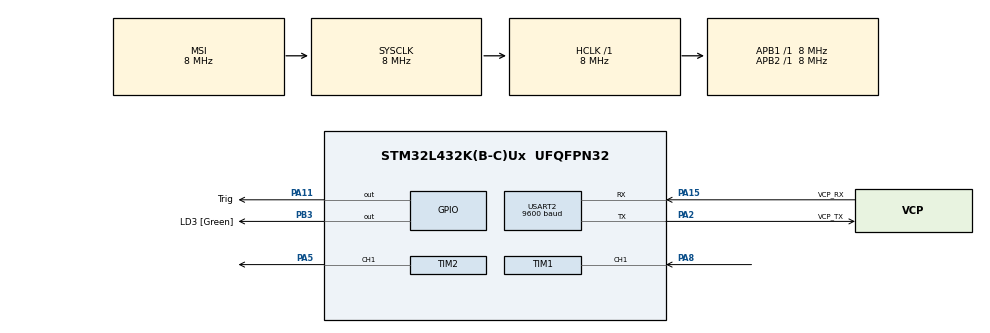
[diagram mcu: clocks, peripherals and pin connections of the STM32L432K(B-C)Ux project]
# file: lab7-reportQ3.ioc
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FREERTOS.BinarySemaphores01=event_signal,Dynamic,NULL
FREERTOS.Queues01=distanceQueue,10,float,0,Dynamic,NULL,NULL
FREERTOS.Tasks01=defaultTask,24,128,StartDefaultTask,Default,NULL,Dynamic,NULL,NULL;myTask02,8,128,ultrasensorTask,Default,NULL,Dynamic,NULL,NULL;myTask03,8,128,buzzerTask,Default,NULL,Dynamic,NULL,NULL
Mcu.Family=STM32L4
Mcu.Name=STM32L432K(B-C)Ux
Mcu.Package=UFQFPN32
NVIC.PriorityGroup=NVIC_PRIORITYGROUP_4
NVIC.TIM1_CC_IRQn=true\:5\:0\:false\:false\:true\:true\:true\:true\:true
NVIC.TIM2_IRQn=true\:5\:0\:false\:false\:true\:true\:true\:true\:true
NVIC.TIM6_DAC_IRQn=true\:15\:0\:false\:false\:true\:false\:false\:true\:true
NVIC.TimeBase=TIM6_DAC_IRQn
NVIC.TimeBaseIP=TIM6
PA0.GPIO_Label=MCO [High speed clock in]
PA0.Mode=HSE-External-Clock-Source-for-LittleOrca
PA0.Signal=RCC_CK_IN
PA11.GPIO_Label=Trig
PA11.Signal=GPIO_Output
PA13\ (JTMS-SWDIO).GPIO_Label=SWDIO
PA13\ (JTMS-SWDIO).Mode=Serial_Wire
PA13\ (JTMS-SWDIO).Signal=SYS_JTMS-SWDIO
PA14\ (JTCK-SWCLK).GPIO_Label=SWCLK
PA14\ (JTCK-SWCLK).Mode=Serial_Wire
PA14\ (JTCK-SWCLK).Signal=SYS_JTCK-SWCLK
PA15\ (JTDI).GPIO_Label=VCP_RX
PA15\ (JTDI).Mode=Asynchronous
PA15\ (JTDI).Signal=USART2_RX
PA2.GPIO_Label=VCP_TX
PA2.Mode=Asynchronous
PA2.Signal=USART2_TX
PA5.Signal=S_TIM2_CH1
PA8.Signal=S_TIM1_CH1
PB3\ (JTDO-TRACESWO).GPIO_Label=LD3 [Green]
PB3\ (JTDO-TRACESWO).Signal=GPIO_Output
PC14-OSC32_IN\ (PC14).Mode=LSE-External-Oscillator
PC14-OSC32_IN\ (PC14).Signal=RCC_OSC32_IN
PC15-OSC32_OUT\ (PC15).Mode=LSE-External-Oscillator
PC15-OSC32_OUT\ (PC15).Signal=RCC_OSC32_OUT
ProjectManager.HeapSize=0x200
ProjectManager.StackSize=0x400
ProjectManager.TargetToolchain=MDK-ARM V5.32
RCC.ADCFreq_Value=32000000
RCC.AHBFreq_Value=8000000
RCC.APB1Freq_Value=8000000
RCC.APB1TimFreq_Value=8000000
RCC.APB2Freq_Value=8000000
RCC.APB2TimFreq_Value=8000000
RCC.CortexFreq_Value=8000000
RCC.HCLKFreq_Value=8000000
RCC.HSE_VALUE=8000000
RCC.HSI16_VALUE=16000000
RCC.HSI48_VALUE=48000000
RCC.HSI_VALUE=16000000
RCC.MSIClockRange=RCC_MSIRANGE_7
RCC.MSI_VALUE=8000000
RCC.PLLMUL=RCC_PLLMUL_4
RCC.PLLN=16
RCC.SYSCLKFreq_VALUE=8000000
RCC.USBFreq_Value=32000000
RCC.VCOOutputFreq_Value=128000000
SH.S_TIM1_CH1.0=TIM1_CH1,Input_Capture1_from_TI1
SH.S_TIM2_CH1.0=TIM2_CH1,PWM Generation1 CH1
TIM1.Channel-Input_Capture1_from_TI1=TIM_CHANNEL_1
TIM1.Channel-PWM\ Generation2\ No\ Output=TIM_CHANNEL_2
TIM1.Period=65535
TIM1.Prescaler=7
TIM2.AutoReloadPreload=TIM_AUTORELOAD_PRELOAD_ENABLE
TIM2.Channel-PWM\ Generation1\ CH1=TIM_CHANNEL_1
TIM2.Period=65535
TIM2.Prescaler=79
USART2.BaudRate=9600
USART2.VirtualMode-Asynchronous=VM_ASYNC
VP_FREERTOS_VS_CMSIS_V2.Mode=CMSIS_V2
VP_SYS_VS_tim6.Mode=TIM6
VP_TIM1_VS_no_output2.Mode=PWM Generation2 No Output
VP_TIM2_VS_ClockSourceINT.Mode=Internal
board=NUCLEO-L432KC

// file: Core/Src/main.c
/* USER CODE BEGIN Header */
/**
  ******************************************************************************
  * @file           : main.c
  * @brief          : Main program body
  ******************************************************************************
  * @attention
  *
  * Copyright (c) 2022 STMicroelectronics.
  * All rights reserved.
  *
  * This software is licensed under terms that can be found in the LICENSE file
  * in the root directory of this software component.
  * If no LICENSE file comes with this software, it is provided AS-IS.
  *
  ******************************************************************************
  */
/* USER CODE END Header */
#include "main.h"
#include "cmsis_os.h"

/* USER CODE BEGIN Includes */
#include "semphr.h"
#include "Queue.h"
#include "stdio.h"
#include "stdlib.h"
#include "string.h"

/* USER CODE END Includes */

 TIM_HandleTypeDef htim1;
TIM_HandleTypeDef htim2;

UART_HandleTypeDef huart2;

/* Definitions for defaultTask */
osThreadId_t defaultTaskHandle;
const osThreadAttr_t defaultTask_attributes = {
  .name = "defaultTask",
  .stack_size = 128 * 4,
  .priority = (osPriority_t) osPriorityNormal,
};
/* Definitions for myTask02 */
osThreadId_t myTask02Handle;
const osThreadAttr_t myTask02_attributes = {
  .name = "myTask02",
  .stack_size = 128 * 4,
  .priority = (osPriority_t) osPriorityLow,
};
/* Definitions for myTask03 */
osThreadId_t myTask03Handle;
const osThreadAttr_t myTask03_attributes = {
  .name = "myTask03",
  .stack_size = 128 * 4,
  .priority = (osPriority_t) osPriorityLow,
};
/* Definitions for distanceQueue */
osMessageQueueId_t distanceQueueHandle;
const osMessageQueueAttr_t distanceQueue_attributes = {
  .name = "distanceQueue"
};
/* Definitions for event_signal */
osSemaphoreId_t event_signalHandle;
const osSemaphoreAttr_t event_signal_attributes = {
  .name = "event_signal"
};
/* USER CODE BEGIN PV */

/* My Created Queue*/

uint8_t risingEdge = 1, fallingEdge = 0, EdgeChecker=0,  beep_flag = 1,minDistFlag;
uint32_t fallingEdge_captureValue = 0 , risingEdge_captureValue=0;
float distanceCovered = 0.0;
uint8_t uartBuffer[30];
uint32_t beepDelay = 500;
uint32_t CCR_val = 50;
uint32_t PSC_val = 79;
uint32_t ARR_val ;

// minimum distance -> 2 cm or 3cm
float min_dist1 = 2.0 , min_dist2 = 3.0;
/* USER CODE END PV */

void SystemClock_Config(void);
static void MX_GPIO_Init(void);
static void MX_TIM1_Init(void);
static void MX_USART2_UART_Init(void);
static void MX_TIM2_Init(void);
void StartDefaultTask(void *argument);
void ultrasensorTask(void *argument);
void buzzerTask(void *argument);

int main(void)
{

  /* MCU Configuration--------------------------------------------------------*/

  /* Reset of all peripherals, Initializes the Flash interface and the Systick. */
  HAL_Init();

  /* Configure the system clock */
  SystemClock_Config();

  /* Initialize all configured peripherals */
  MX_GPIO_Init();
  MX_TIM1_Init();
  MX_USART2_UART_Init();
  MX_TIM2_Init();
  /* USER CODE BEGIN 2 */
	// Start the TIM Base generation
	HAL_TIM_Base_Start(&htim1);

  /* USER CODE END 2 */

  /* Init scheduler */
  osKernelInitialize();

  /* Create the semaphores(s) */
  /* creation of event_signal */
  event_signalHandle = osSemaphoreNew(1, 1, &event_signal_attributes);

  /* Create the queue(s) */
  /* creation of distanceQueue */
  distanceQueueHandle = osMessageQueueNew (10, sizeof(float), &distanceQueue_attributes);

  /* Create the thread(s) */
  /* creation of defaultTask */
  defaultTaskHandle = osThreadNew(StartDefaultTask, NULL, &defaultTask_attributes);

  /* creation of myTask02 */
  myTask02Handle = osThreadNew(ultrasensorTask, NULL, &myTask02_attributes);

  /* creation of myTask03 */
  myTask03Handle = osThreadNew(buzzerTask, NULL, &myTask03_attributes);

  /* USER CODE BEGIN RTOS_EVENTS */
  /* add events, ... */

	osSemaphoreAcquire(event_signalHandle, HAL_MAX_DELAY);
  /* USER CODE END RTOS_EVENTS */

  /* Start scheduler */
  osKernelStart();

  /* We should never get here as control is now taken by the scheduler */
  /* Infinite loop */
  while (1)
  {

  }
}

void SystemClock_Config(void)
{
  RCC_OscInitTypeDef RCC_OscInitStruct = {0};
  RCC_ClkInitTypeDef RCC_ClkInitStruct = {0};

  /** Configure the main internal regulator output voltage
  */
  if (HAL_PWREx_ControlVoltageScaling(PWR_REGULATOR_VOLTAGE_SCALE1) != HAL_OK)
  {
    Error_Handler();
  }

  /** Configure LSE Drive Capability
  */
  HAL_PWR_EnableBkUpAccess();
  __HAL_RCC_LSEDRIVE_CONFIG(RCC_LSEDRIVE_LOW);

  /** Initializes the RCC Oscillators according to the specified parameters
  * in the RCC_OscInitTypeDef structure.
  */
  RCC_OscInitStruct.OscillatorType = RCC_OSCILLATORTYPE_LSE|RCC_OSCILLATORTYPE_MSI;
  RCC_OscInitStruct.LSEState = RCC_LSE_ON;
  RCC_OscInitStruct.MSIState = RCC_MSI_ON;
  RCC_OscInitStruct.MSICalibrationValue = 0;
  RCC_OscInitStruct.MSIClockRange = RCC_MSIRANGE_7;
  RCC_OscInitStruct.PLL.PLLState = RCC_PLL_NONE;
  if (HAL_RCC_OscConfig(&RCC_OscInitStruct) != HAL_OK)
  {
    Error_Handler();
  }

  /** Initializes the CPU, AHB and APB buses clocks
  */
  RCC_ClkInitStruct.ClockType = RCC_CLOCKTYPE_HCLK|RCC_CLOCKTYPE_SYSCLK
                              |RCC_CLOCKTYPE_PCLK1|RCC_CLOCKTYPE_PCLK2;
  RCC_ClkInitStruct.SYSCLKSource = RCC_SYSCLKSOURCE_MSI;
  RCC_ClkInitStruct.AHBCLKDivider = RCC_SYSCLK_DIV1;
  RCC_ClkInitStruct.APB1CLKDivider = RCC_HCLK_DIV1;
  RCC_ClkInitStruct.APB2CLKDivider = RCC_HCLK_DIV1;

  if (HAL_RCC_ClockConfig(&RCC_ClkInitStruct, FLASH_LATENCY_0) != HAL_OK)
  {
    Error_Handler();
  }

  /** Enable MSI Auto calibration
  */
  HAL_RCCEx_EnableMSIPLLMode();
}

static void MX_TIM1_Init(void)
{

  TIM_MasterConfigTypeDef sMasterConfig = {0};
  TIM_IC_InitTypeDef sConfigIC = {0};
  TIM_OC_InitTypeDef sConfigOC = {0};
  TIM_BreakDeadTimeConfigTypeDef sBreakDeadTimeConfig = {0};

  htim1.Instance = TIM1;
  htim1.Init.Prescaler = 7;
  htim1.Init.CounterMode = TIM_COUNTERMODE_UP;
  htim1.Init.Period = 65535;
  htim1.Init.ClockDivision = TIM_CLOCKDIVISION_DIV1;
  htim1.Init.RepetitionCounter = 0;
  htim1.Init.AutoReloadPreload = TIM_AUTORELOAD_PRELOAD_DISABLE;
  if (HAL_TIM_IC_Init(&htim1) != HAL_OK)
  {
    Error_Handler();
  }
  if (HAL_TIM_PWM_Init(&htim1) != HAL_OK)
  {
    Error_Handler();
  }
  sMasterConfig.MasterOutputTrigger = TIM_TRGO_RESET;
  sMasterConfig.MasterOutputTrigger2 = TIM_TRGO2_RESET;
  sMasterConfig.MasterSlaveMode = TIM_MASTERSLAVEMODE_DISABLE;
  if (HAL_TIMEx_MasterConfigSynchronization(&htim1, &sMasterConfig) != HAL_OK)
  {
    Error_Handler();
  }
  sConfigIC.ICPolarity = TIM_INPUTCHANNELPOLARITY_RISING;
  sConfigIC.ICSelection = TIM_ICSELECTION_DIRECTTI;
  sConfigIC.ICPrescaler = TIM_ICPSC_DIV1;
  sConfigIC.ICFilter = 0;
  if (HAL_TIM_IC_ConfigChannel(&htim1, &sConfigIC, TIM_CHANNEL_1) != HAL_OK)
  {
    Error_Handler();
  }
  sConfigOC.OCMode = TIM_OCMODE_PWM1;
  sConfigOC.Pulse = 0;
  sConfigOC.OCPolarity = TIM_OCPOLARITY_HIGH;
  sConfigOC.OCNPolarity = TIM_OCNPOLARITY_HIGH;
  sConfigOC.OCFastMode = TIM_OCFAST_DISABLE;
  sConfigOC.OCIdleState = TIM_OCIDLESTATE_RESET;
  sConfigOC.OCNIdleState = TIM_OCNIDLESTATE_RESET;
  if (HAL_TIM_PWM_ConfigChannel(&htim1, &sConfigOC, TIM_CHANNEL_2) != HAL_OK)
  {
    Error_Handler();
  }
  sBreakDeadTimeConfig.OffStateRunMode = TIM_OSSR_DISABLE;
  sBreakDeadTimeConfig.OffStateIDLEMode = TIM_OSSI_DISABLE;
  sBreakDeadTimeConfig.LockLevel = TIM_LOCKLEVEL_OFF;
  sBreakDeadTimeConfig.DeadTime = 0;
  sBreakDeadTimeConfig.BreakState = TIM_BREAK_DISABLE;
  sBreakDeadTimeConfig.BreakPolarity = TIM_BREAKPOLARITY_HIGH;
  sBreakDeadTimeConfig.BreakFilter = 0;
  sBreakDeadTimeConfig.Break2State = TIM_BREAK2_DISABLE;
  sBreakDeadTimeConfig.Break2Polarity = TIM_BREAK2POLARITY_HIGH;
  sBreakDeadTimeConfig.Break2Filter = 0;
  sBreakDeadTimeConfig.AutomaticOutput = TIM_AUTOMATICOUTPUT_DISABLE;
  if (HAL_TIMEx_ConfigBreakDeadTime(&htim1, &sBreakDeadTimeConfig) != HAL_OK)
  {
    Error_Handler();
  }

}

static void MX_TIM2_Init(void)
{

  TIM_ClockConfigTypeDef sClockSourceConfig = {0};
  TIM_MasterConfigTypeDef sMasterConfig = {0};
  TIM_OC_InitTypeDef sConfigOC = {0};

  htim2.Instance = TIM2;
  htim2.Init.Prescaler = 79;
  htim2.Init.CounterMode = TIM_COUNTERMODE_UP;
  htim2.Init.Period = 65535;
  htim2.Init.ClockDivision = TIM_CLOCKDIVISION_DIV1;
  htim2.Init.AutoReloadPreload = TIM_AUTORELOAD_PRELOAD_ENABLE;
  if (HAL_TIM_Base_Init(&htim2) != HAL_OK)
  {
    Error_Handler();
  }
  sClockSourceConfig.ClockSource = TIM_CLOCKSOURCE_INTERNAL;
  if (HAL_TIM_ConfigClockSource(&htim2, &sClockSourceConfig) != HAL_OK)
  {
    Error_Handler();
  }
  if (HAL_TIM_PWM_Init(&htim2) != HAL_OK)
  {
    Error_Handler();
  }
  sMasterConfig.MasterOutputTrigger = TIM_TRGO_RESET;
  sMasterConfig.MasterSlaveMode = TIM_MASTERSLAVEMODE_DISABLE;
  if (HAL_TIMEx_MasterConfigSynchronization(&htim2, &sMasterConfig) != HAL_OK)
  {
    Error_Handler();
  }
  sConfigOC.OCMode = TIM_OCMODE_PWM1;
  sConfigOC.Pulse = 0;
  sConfigOC.OCPolarity = TIM_OCPOLARITY_HIGH;
  sConfigOC.OCFastMode = TIM_OCFAST_DISABLE;
  if (HAL_TIM_PWM_ConfigChannel(&htim2, &sConfigOC, TIM_CHANNEL_1) != HAL_OK)
  {
    Error_Handler();
  }
  HAL_TIM_MspPostInit(&htim2);

}

static void MX_USART2_UART_Init(void)
{

  huart2.Instance = USART2;
  huart2.Init.BaudRate = 9600;
  huart2.Init.WordLength = UART_WORDLENGTH_8B;
  huart2.Init.StopBits = UART_STOPBITS_1;
  huart2.Init.Parity = UART_PARITY_NONE;
  huart2.Init.Mode = UART_MODE_TX_RX;
  huart2.Init.HwFlowCtl = UART_HWCONTROL_NONE;
  huart2.Init.OverSampling = UART_OVERSAMPLING_16;
  huart2.Init.OneBitSampling = UART_ONE_BIT_SAMPLE_DISABLE;
  huart2.AdvancedInit.AdvFeatureInit = UART_ADVFEATURE_NO_INIT;
  if (HAL_UART_Init(&huart2) != HAL_OK)
  {
    Error_Handler();
  }

}

static void MX_GPIO_Init(void)
{
  GPIO_InitTypeDef GPIO_InitStruct = {0};

  /* GPIO Ports Clock Enable */
  __HAL_RCC_GPIOC_CLK_ENABLE();
  __HAL_RCC_GPIOA_CLK_ENABLE();
  __HAL_RCC_GPIOB_CLK_ENABLE();

  /*Configure GPIO pin Output Level */
  HAL_GPIO_WritePin(Trig_GPIO_Port, Trig_Pin, GPIO_PIN_RESET);

  /*Configure GPIO pin Output Level */
  HAL_GPIO_WritePin(LD3_GPIO_Port, LD3_Pin, GPIO_PIN_RESET);

  /*Configure GPIO pin : Trig_Pin */
  GPIO_InitStruct.Pin = Trig_Pin;
  GPIO_InitStruct.Mode = GPIO_MODE_OUTPUT_PP;
  GPIO_InitStruct.Pull = GPIO_NOPULL;
  GPIO_InitStruct.Speed = GPIO_SPEED_FREQ_LOW;
  HAL_GPIO_Init(Trig_GPIO_Port, &GPIO_InitStruct);

  /*Configure GPIO pin : LD3_Pin */
  GPIO_InitStruct.Pin = LD3_Pin;
  GPIO_InitStruct.Mode = GPIO_MODE_OUTPUT_PP;
  GPIO_InitStruct.Pull = GPIO_NOPULL;
  GPIO_InitStruct.Speed = GPIO_SPEED_FREQ_LOW;
  HAL_GPIO_Init(LD3_GPIO_Port, &GPIO_InitStruct);

}

void StartDefaultTask(void *argument)
{
  for(;;)
  {
		 osDelay(1);
  }
}

void ultrasensorTask(void *argument)
{
  /* USER CODE BEGIN ultrasensorTask */
  /* Infinite loop */
  for(;;)
  {
		// pull TRIG high
		HAL_GPIO_WritePin(Trig_GPIO_Port, Trig_Pin, GPIO_PIN_SET);
		__HAL_TIM_SetCounter(&htim1, 0);
		//create 10 microsec delay by setting the TIM Counter Register value to 0
		while ( __HAL_TIM_GetCounter(&htim1) < 10/*TIM Counter Register value is less than the intended value */);
		// pull TRIG low
		HAL_GPIO_WritePin(Trig_GPIO_Port, Trig_Pin, GPIO_PIN_RESET);
		// start TIM Input Capture measurement in interrupt mode
		HAL_TIM_IC_Start_IT(&htim1, TIM_CHANNEL_1);
		// wait for a little time
	//	HAL_Delay(20);
			HAL_Delay(1);

		taskENTER_CRITICAL();
    osDelay(beepDelay+100);
		taskEXIT_CRITICAL();
  }
  /* USER CODE END ultrasensorTask */
}

void buzzerTask(void *argument)
{
  /* USER CODE BEGIN buzzerTask */
	float distance;
	uint8_t task_buffer[30];
	HAL_TIM_PWM_Start(&htim2, TIM_CHANNEL_1);
	TIM2->CCR1 = CCR_val; //50% duty cycle

	// for loudness
	float dutyCycleFactor;
	/*Struct for predefined dutyCycles*/
	typedef struct dutyCycles dutyCycles;
	struct dutyCycles{
	float _3_5;
	float _6_10;
	float _10_20;
	float others;
	};

	/* Reference for the duty cycle loudness part:
	http://justanotherlanguage.org/content/jallib/tutorials/tutorial_pwm2*/
	dutyCycles DC;
	DC._3_5 = 49.0;
	DC._6_10 = 30.0;
	DC._10_20 = 15.0;
	DC.others = 5.0;

  /* Infinite loop */

	for(;;)
  {
		/* Acquiring the binarysemaphore released (Given) in the ISR*/
		if (osSemaphoreAcquire(event_signalHandle, HAL_MAX_DELAY) == osOK){
				// range of the HC-SR04 2cm to 400cm

			/*After acquiring the semaphore we will know get the last element in the distance queue handle*/
			if(osMessageQueueGet(distanceQueueHandle, &distance, NULL, HAL_MAX_DELAY) == osOK && (distance >=2 && distance <= 400)){

				/*Sending thedistance extracted from the queue over UART
				*To make sure that there is syncronization between the distance
				* received from the ISR via HC-SR04 and the this task (buzzerTask)
				*/
				taskENTER_CRITICAL();
				sprintf((char*) task_buffer, "Distance TASK: %0.1f\r\n", distance);
				HAL_UART_Transmit(&huart2, task_buffer, sizeof("Distance TASK: %0.1f\r\n"), 30);
				taskEXIT_CRITICAL();

				/* flag for the minimum distance*/
				minDistFlag = (distance == min_dist1 || distance == min_dist2 );

				// minimum distance
				if(minDistFlag){
					/*If we have minimum distance in our case 2
					* we have default values of ARR -> Which is 50
					* and the compare capture register responsible for the duty cycle
					* as 50%
					*/
					ARR_val = 99;
					CCR_val = 49;
					beep_flag = 1;
				}
				else{

				/* We have distances different from the minimum distance */
				/* I created a struct for each group of distances where I specify the CCR
				* Decreasing the CCR value as we go further from the HC-SR04
				* i.e, Distance Increases
				* The purpose of this struct is simply to control the loudness "Optional"
				*/

				dutyCycleFactor = (distance >=2 && distance<=5) ? DC._3_5 : (distance >=6 && distance<=10)?
				DC._6_10 : (distance >= 10 && distance <=20) ? DC._10_20 : DC.others;

				/*For each distance I set the period of each clock cycle
				* since we know that the ARR controls the period
				* so the larger the distance the longer the period
				* then I add 100 (My choice) so that I can make a more resonable ARR val
				* i.e of the distance is 4 then the ARR is at 104
				*/
				ARR_val = (distance) +100 ;

				/*This shorthand-if conrtols the beeping, if the beepflag is 1, meaning that
				*it is not the pre-defined minimum distance then I set the CCR = 0. i.e I shut it down
				* else I set the CCR value responsible for the duty cycle based on, the group that the
				* distance belongs to
				*/
				CCR_val = (beep_flag) ? 0 : (ARR_val * (dutyCycleFactor/100));
				/* if it is beeping, then invert it to mimic a square wave. i.e, 1 0 1 0 1 0 ....*/
				beep_flag = !beep_flag;
					}

				/*Set the timer ARR "Period" to the current ARR decided on based on the if condition*/
				TIM2->ARR = ARR_val;
				/*Set the timer CCR "Duty Cycle" to the current CCR decided on based on the if condition*/
				TIM2->CCR1 = CCR_val;
				}
				/*Zeroing out the buffer*/
				memset(task_buffer, 0,sizeof("Distance TASK: %0.1f\r\n"));
				/*Waiting for short time*/
				HAL_Delay(1);

				/* Since beep delay is shared between the buzzer task and the ultrasonic sensor task
				* I guard it using task_ENTER/EXIT_Critical
				* To eliminate the possibility of race conditions
				*/
				taskENTER_CRITICAL();
				beepDelay = distance + 100;
				osDelay(beepDelay + 100);

				taskEXIT_CRITICAL();
			}
		}

  }
  /* USER CODE END buzzerTask */

void HAL_TIM_PeriodElapsedCallback(TIM_HandleTypeDef *htim)
{
  if (htim->Instance == TIM6) {
    HAL_IncTick();
  }
}

void Error_Handler(void)
{
  __disable_irq();
  while (1)
  {
  }
}
